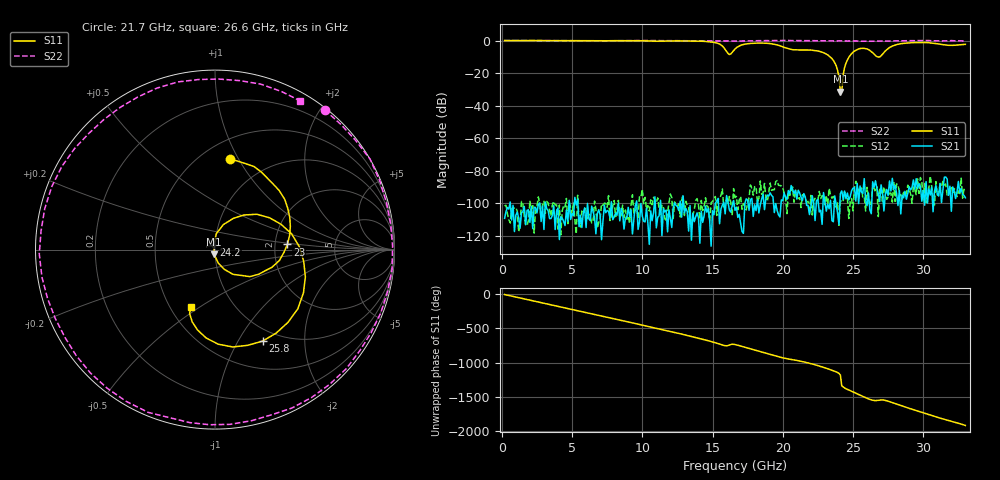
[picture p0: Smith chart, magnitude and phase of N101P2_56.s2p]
# GHZ S RI R 50
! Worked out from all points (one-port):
!   329 points, 200 MHz to 33 GHz, reference 50 ohm
!   lowest |S11| = -31.4 dB at 24.1 GHz (marker M1), VSWR 1.06, Z = 49.5 - j2.63 ohm
!   |S11| at or under -10 dB: 23.35 GHz to 24.73 GHz (1.375 GHz wide, 5.72 % of centre); 26.74 GHz to 26.91 GHz (164.1 MHz wide, 0.612 % of centre)
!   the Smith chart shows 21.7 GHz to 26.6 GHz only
!   S11 on the Smith chart (normalised r, x): 21.7 GHz: 0.67, +0.93; 23 GHz: 2.34, +0.16; 24.2 GHz: 0.99, +0.05; 25.8 GHz: 0.84, -1.27; 26.6 GHz: 0.63, -0.46
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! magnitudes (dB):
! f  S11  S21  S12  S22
! 200 MHz  0.0  -109.3  -101.7  0.0
! 5.7 GHz  -0.1  -115.0  -104.8  -0.1
! 11.2 GHz  -0.4  -107.8  -103.4  -0.1
! 15.2 GHz  -1.3  -100.2  -95.9  -0.3
! 16.2 GHz  -8.6  -104.2  -95.9  -0.3
! 16.6 GHz  -5.2  -104.4  -96.6  -0.3
! 18.5 GHz  -1.5  -97.4  -94.6  -0.1
! 21.7 GHz  -5.8  -101.4  -99.1  -0.1
! 22.1 GHz  -6.0  -95.5  -107.2  0.0
! 23 GHz  -7.9  -99.3  -101.0  -0.1
! 23.8 GHz  -15.4  -100.8  -102.1  -0.2
! 24 GHz  -22.3  -113.1  -113.6  -0.2
! 24.1 GHz  -31.4  -94.2  -99.0  -0.2
! 24.2 GHz  -31.0  -92.5  -98.2  -0.2
! 24.3 GHz  -21.0  -97.7  -98.9  -0.2
! 24.4 GHz  -16.6  -92.5  -93.0  -0.2
! 24.7 GHz  -10.3  -98.0  -109.4  -0.2
! 25.8 GHz  -4.8  -84.9  -96.3  -0.4
! 26.6 GHz  -9.2  -86.2  -93.3  -0.4
! 27.6 GHz  -4.3  -86.4  -93.9  -0.3
! 29.2 GHz  -1.3  -90.5  -100.1  -0.1
! 33 GHz  -2.3  -96.7  -91.6  -0.3
